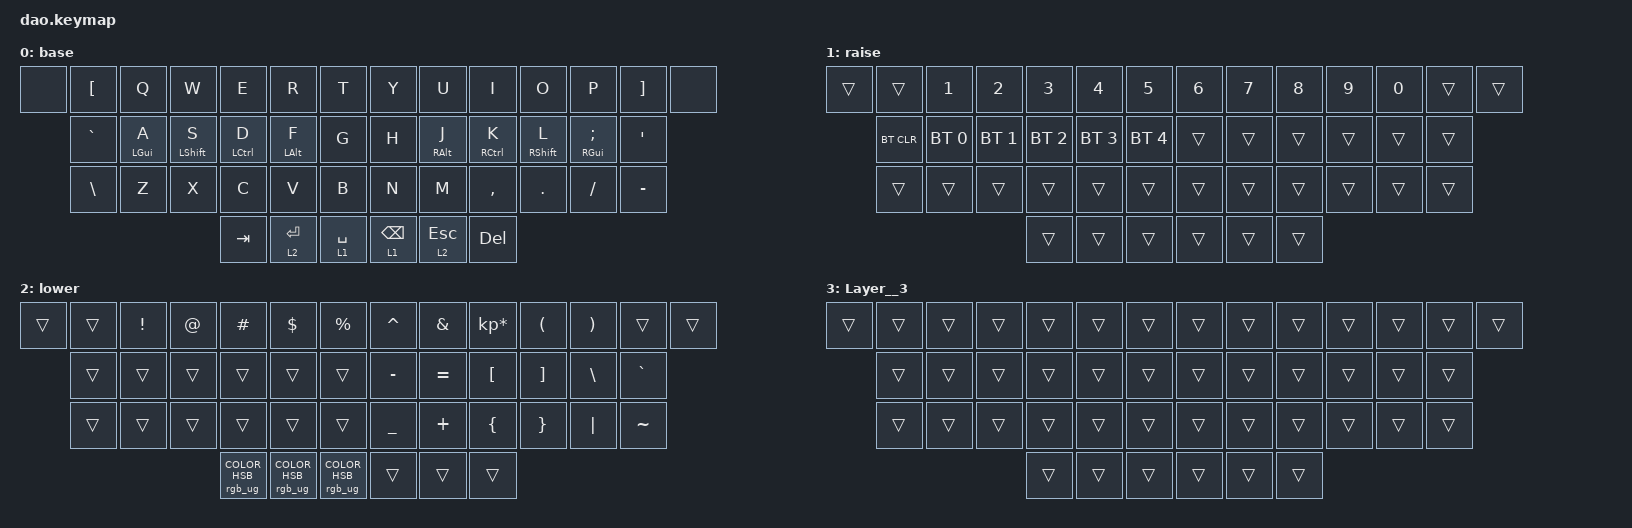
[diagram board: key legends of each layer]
/*
 * Copyright (c) 2020 The ZMK Contributors
 *
 * SPDX-License-Identifier: MIT
 */

#include <behaviors.dtsi>
#include "../zmk-nodefree-config/helper.h"
#include <dt-bindings/zmk/keys.h>
#include <dt-bindings/zmk/bt.h>
#include <dt-bindings/zmk/rgb.h>

/ {
    behaviors {
        hm: homerow_mods {
            compatible = "zmk,behavior-hold-tap";
            label = "HOMEROW_MODS";
            #binding-cells = <2>;
            tapping-term-ms = <150>;
            quick-tap-ms = <0>;
            flavor = "tap-preferred";
            bindings =
                <&kp>,
                <&kp>;
        };
    };

    combos {
        compatible = "zmk,combos";

        kp_2 {
            bindings = <&kp N2>;
            key-positions = <7 20>;
            layers = <0>;
        };

        kp_1 {
            bindings = <&kp N1>;
            key-positions = <6 19>;
            layers = <0>;
        };

        kp_4 {
            bindings = <&kp N4>;
            key-positions = <8 21>;
            layers = <0>;
        };

        kp_3 {
            bindings = <&kp N3>;
            key-positions = <5 18>;
            layers = <0>;
        };

        kp_6 {
            bindings = <&kp N6>;
            key-positions = <9 22>;
            layers = <0>;
        };

        kp_5 {
            bindings = <&kp N5>;
            key-positions = <4 17>;
            layers = <0>;
        };

        kp_8 {
            bindings = <&kp N8>;
            key-positions = <10 23>;
            layers = <0>;
        };

        kp_7 {
            bindings = <&kp N7>;
            key-positions = <3 16>;
            layers = <0>;
        };

        kp_0 {
            bindings = <&kp N0>;
            key-positions = <11 24>;
            layers = <0>;
        };

        kp_9 {
            bindings = <&kp N9>;
            key-positions = <2 15>;
            layers = <0>;
        };
    };

    macros {
    };

    keymap {
        compatible = "zmk,keymap";

        base {
            bindings = <
  &none  &kp LEFT_BRACKET       &kp Q        &kp W        &kp E        &kp R        &kp T                    &kp Y       &kp U        &kp I         &kp O          &kp P  &kp RIGHT_BRACKET   &none
                &kp GRAVE  &hm LGUI A  &hm LSHFT S  &hm LCTRL D   &hm LALT F        &kp G                    &kp H  &hm RALT J  &hm RCTRL K  &hm RSHIFT L  &hm RGUI SEMI           &kp APOS
                 &kp BSLH       &kp Z        &kp X        &kp C        &kp V        &kp B                    &kp N       &kp M    &kp COMMA       &kp DOT       &kp FSLH          &kp MINUS
                                                        &kp TAB  &lt 2 ENTER  &lt 1 SPACE          &lt 1 BACKSPACE   &lt 2 ESC      &kp DEL
            >;
        };

        raise {
            bindings = <
 &trans      &trans        &kp N1        &kp N2        &kp N3        &kp N4        &kp N5          &kp N6  &kp N7  &kp N8  &kp N9  &kp N0  &trans  &trans
         &bt BT_CLR  &bt BT_SEL 0  &bt BT_SEL 1  &bt BT_SEL 2  &bt BT_SEL 3  &bt BT_SEL 4          &trans  &trans  &trans  &trans  &trans  &trans
             &trans        &trans        &trans        &trans        &trans        &trans          &trans  &trans  &trans  &trans  &trans  &trans
                                                       &trans        &trans        &trans          &trans  &trans  &trans
            >;
        };

        lower {
            bindings = <
 &trans  &trans  &kp EXCL  &kp AT                        &kp HASH                          &kp DLLR                         &kp PRCNT          &kp CARET   &kp AMPS  &kp KP_MULTIPLY  &kp LPAR  &kp RPAR     &trans  &trans
         &trans    &trans  &trans                          &trans                            &trans                            &trans          &kp MINUS  &kp EQUAL         &kp LBKT  &kp RBKT  &kp BSLH  &kp GRAVE
         &trans    &trans  &trans                          &trans                            &trans                            &trans          &kp UNDER   &kp PLUS         &kp LBRC  &kp RBRC  &kp PIPE  &kp TILDE
                                   &rgb_ug RGB_COLOR_HSB(0,50,56)  &rgb_ug RGB_COLOR_HSB(104,57,55)  &rgb_ug RGB_COLOR_HSB(209,50,55)             &trans     &trans           &trans
            >;
        };

        Layer__3 {
            bindings = <
 &trans  &trans  &trans  &trans  &trans  &trans  &trans          &trans  &trans  &trans  &trans  &trans  &trans  &trans
         &trans  &trans  &trans  &trans  &trans  &trans          &trans  &trans  &trans  &trans  &trans  &trans
         &trans  &trans  &trans  &trans  &trans  &trans          &trans  &trans  &trans  &trans  &trans  &trans
                                 &trans  &trans  &trans          &trans  &trans  &trans
            >;
        };
    };
};
